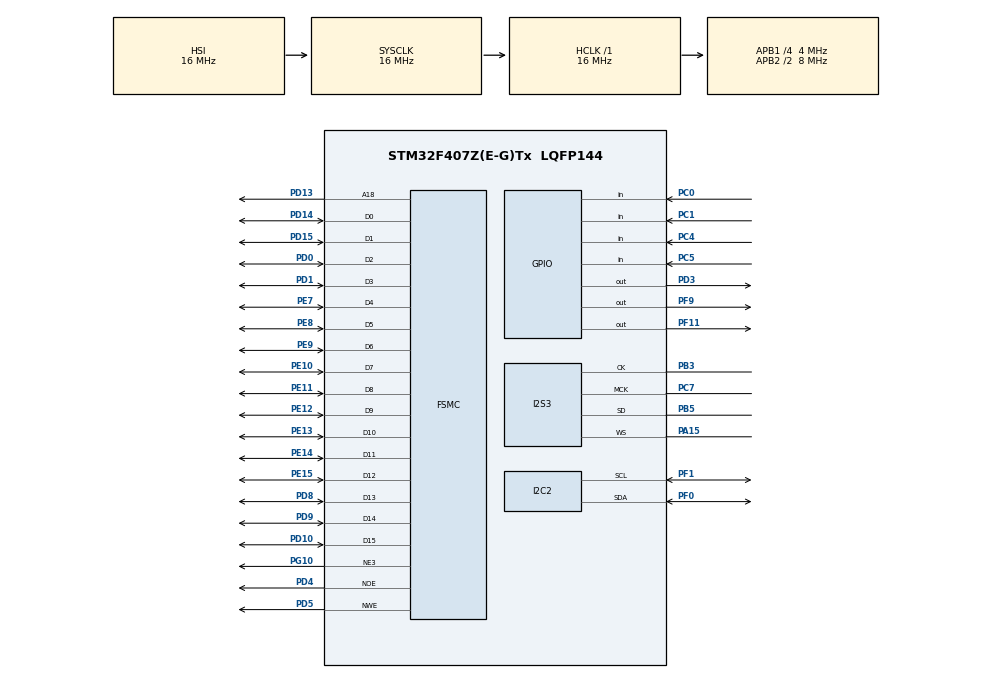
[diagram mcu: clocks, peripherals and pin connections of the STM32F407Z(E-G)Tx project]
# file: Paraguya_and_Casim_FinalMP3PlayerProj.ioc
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Dma.Request0=SPI3_TX
Dma.SPI3_TX.0.Direction=DMA_MEMORY_TO_PERIPH
Dma.SPI3_TX.0.FIFOMode=DMA_FIFOMODE_ENABLE
Dma.SPI3_TX.0.FIFOThreshold=DMA_FIFO_THRESHOLD_FULL
Dma.SPI3_TX.0.Instance=DMA1_Stream5
Dma.SPI3_TX.0.MemBurst=DMA_MBURST_INC4
Dma.SPI3_TX.0.MemDataAlignment=DMA_MDATAALIGN_HALFWORD
Dma.SPI3_TX.0.MemInc=DMA_MINC_ENABLE
Dma.SPI3_TX.0.Mode=DMA_CIRCULAR
Dma.SPI3_TX.0.PeriphBurst=DMA_PBURST_INC4
Dma.SPI3_TX.0.PeriphDataAlignment=DMA_PDATAALIGN_HALFWORD
Dma.SPI3_TX.0.PeriphInc=DMA_PINC_DISABLE
Dma.SPI3_TX.0.Priority=DMA_PRIORITY_HIGH
I2S3.AudioFreq=I2S_AUDIOFREQ_44K
I2S3.CPOL=I2S_CPOL_LOW
I2S3.DataFormat=I2S_DATAFORMAT_16B
I2S3.ErrorAudioFreq=0.02 %
I2S3.FullDuplexMode=I2S_FULLDUPLEXMODE_DISABLE
I2S3.Instance=SPI$Index
I2S3.Mode=I2S_MODE_MASTER_TX
I2S3.RealAudioFreq=44.01 KHz
I2S3.VirtualMode=I2S_MODE_MASTER
Mcu.Family=STM32F4
Mcu.Name=STM32F407Z(E-G)Tx
Mcu.Package=LQFP144
NVIC.DMA1_Stream5_IRQn=true\:0\:0\:false\:false\:true\:false\:true\:true
NVIC.PriorityGroup=NVIC_PRIORITYGROUP_4
PA15.Mode=Half_Duplex_Master
PA15.Signal=I2S3_WS
PB3.Mode=Half_Duplex_Master
PB3.Signal=I2S3_CK
PB5.Mode=Half_Duplex_Master
PB5.Signal=I2S3_SD
PC0.GPIO_PuPd=GPIO_PULLUP
PC0.Signal=GPIO_Input
PC1.GPIO_PuPd=GPIO_PULLUP
PC1.Signal=GPIO_Input
PC4.GPIO_PuPd=GPIO_PULLUP
PC4.Signal=GPIO_Input
PC5.GPIO_PuPd=GPIO_PULLUP
PC5.Signal=GPIO_Input
PC7.Mode=Master_Clock_Activated
PC7.Signal=I2S3_MCK
PD0.Signal=FSMC_D2_DA2
PD1.Signal=FSMC_D3_DA3
PD10.Signal=FSMC_D15_DA15
PD13.Signal=FSMC_A18
PD14.Signal=FSMC_D0_DA0
PD15.Signal=FSMC_D1_DA1
PD3.Signal=GPIO_Output
PD4.Signal=FSMC_NOE
PD5.Signal=FSMC_NWE
PD8.Signal=FSMC_D13_DA13
PD9.Signal=FSMC_D14_DA14
PE10.Signal=FSMC_D7_DA7
PE11.Signal=FSMC_D8_DA8
PE12.Signal=FSMC_D9_DA9
PE13.Signal=FSMC_D10_DA10
PE14.Signal=FSMC_D11_DA11
PE15.Signal=FSMC_D12_DA12
PE7.Signal=FSMC_D4_DA4
PE8.Signal=FSMC_D5_DA5
PE9.Signal=FSMC_D6_DA6
PF0.Mode=I2C
PF0.Signal=I2C2_SDA
PF1.Mode=I2C
PF1.Signal=I2C2_SCL
PF11.Signal=GPIO_Output
PF9.Signal=GPIO_Output
PG10.Mode=NorPsramChipSelect3_1
PG10.Signal=FSMC_NE3
ProjectManager.HeapSize=0x200
ProjectManager.StackSize=0x400
ProjectManager.TargetToolchain=STM32CubeIDE
RCC.48MHZClocksFreq_Value=76800000
RCC.AHBFreq_Value=16000000
RCC.APB1CLKDivider=RCC_HCLK_DIV4
RCC.APB1Freq_Value=4000000
RCC.APB1TimFreq_Value=8000000
RCC.APB2CLKDivider=RCC_HCLK_DIV2
RCC.APB2Freq_Value=8000000
RCC.APB2TimFreq_Value=16000000
RCC.CortexFreq_Value=16000000
RCC.HCLKFreq_Value=16000000
RCC.HSE_VALUE=25000000
RCC.HSI_VALUE=16000000
RCC.LSE_VALUE=32768
RCC.PLLI2SN=169
RCC.PLLM=10
RCC.SYSCLKFreq_VALUE=16000000
RCC.VCOOutputFreq_Value=307200000
SH.FSMC_A18.0=FSMC_A18,A18_1
SH.FSMC_D0_DA0.0=FSMC_D0,16b-d1
SH.FSMC_D10_DA10.0=FSMC_D10,16b-d1
SH.FSMC_D11_DA11.0=FSMC_D11,16b-d1
SH.FSMC_D12_DA12.0=FSMC_D12,16b-d1
SH.FSMC_D13_DA13.0=FSMC_D13,16b-d1
SH.FSMC_D14_DA14.0=FSMC_D14,16b-d1
SH.FSMC_D15_DA15.0=FSMC_D15,16b-d1
SH.FSMC_D1_DA1.0=FSMC_D1,16b-d1
SH.FSMC_D2_DA2.0=FSMC_D2,16b-d1
SH.FSMC_D3_DA3.0=FSMC_D3,16b-d1
SH.FSMC_D4_DA4.0=FSMC_D4,16b-d1
SH.FSMC_D5_DA5.0=FSMC_D5,16b-d1
SH.FSMC_D6_DA6.0=FSMC_D6,16b-d1
SH.FSMC_D7_DA7.0=FSMC_D7,16b-d1
SH.FSMC_D8_DA8.0=FSMC_D8,16b-d1
SH.FSMC_D9_DA9.0=FSMC_D9,16b-d1
SH.FSMC_NOE.0=FSMC_NOE,Lcd1
SH.FSMC_NWE.0=FSMC_NWE,Lcd1
board=custom

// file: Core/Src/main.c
/* USER CODE BEGIN Header */
/**
  ******************************************************************************
  * @file           : main.c
  * @brief          : DIY MP3 Player - BCA143 Final Exam
  ******************************************************************************
  */
/* USER CODE END Header */
#include "main.h"

/* USER CODE BEGIN Includes */
#include "drv_es8388.h"
#include <math.h>
#include "drv_lcd.h"
#include <string.h>
#include <stdio.h>
/* USER CODE END Includes */

/* USER CODE BEGIN PD */
#define AUDIO_BUFFER_SIZE  512

#define NOTE_C3  130.81f
#define NOTE_CS3 138.59f
#define NOTE_D3  146.83f
#define NOTE_DS3 155.56f
#define NOTE_E3  164.81f
#define NOTE_F3  174.61f
#define NOTE_FS3 185.00f
#define NOTE_G3  196.00f
#define NOTE_GS3 207.65f
#define NOTE_A3  220.00f
#define NOTE_AS3 233.08f
#define NOTE_B3  246.94f
#define NOTE_C4  261.63f
#define NOTE_CS4 277.18f
#define NOTE_D4  293.66f
#define NOTE_DS4 311.13f
#define NOTE_E4  329.63f
#define NOTE_F4  349.23f
#define NOTE_FS4 369.99f
#define NOTE_G4  392.00f
#define NOTE_GS4 415.30f
#define NOTE_A4  440.00f
#define NOTE_AS4 466.16f
#define NOTE_B4  493.88f
#define NOTE_C5  523.25f
#define NOTE_CS5 554.37f
#define NOTE_D5  587.33f
#define NOTE_DS5 622.25f
#define NOTE_E5  659.25f
#define NOTE_F5  698.46f
#define NOTE_FS5 739.99f
#define NOTE_G5  783.99f
#define NOTE_GS5 830.61f
#define NOTE_A5  880.00f
#define NOTE_AS5 932.33f
#define NOTE_B5  987.77f
#define REST     0.0f

typedef struct {
    float note;
    float duration;
} MusicalNote;

typedef struct {
    const char* name;
    const MusicalNote* notes;
    uint16_t length;
    uint16_t bpm;
} Song;
/* USER CODE END PD */

I2C_HandleTypeDef hi2c2;
I2S_HandleTypeDef hi2s3;
DMA_HandleTypeDef hdma_spi3_tx;
SRAM_HandleTypeDef hsram1;

/* USER CODE BEGIN PV */
uint16_t debug_audio_buffer[AUDIO_BUFFER_SIZE];

const MusicalNote bohemian_track[] = {
    {NOTE_B4,1.0f},{NOTE_A4,1.0f},{NOTE_G4,1.0f},{NOTE_A4,1.0f},
    {NOTE_B4,2.0f},{NOTE_B4,1.0f},{NOTE_A4,1.0f},
    {NOTE_G4,1.0f},{NOTE_A4,1.0f},{NOTE_B4,2.0f},
    {NOTE_E4,1.0f},{NOTE_G4,1.0f},{NOTE_A4,1.0f},{NOTE_B4,2.0f},
    {REST,2.0f}
};
const Song song_bohemian = {
    .name="Bohemian Rhapsody",
    .notes=bohemian_track,
    .length=sizeof(bohemian_track)/sizeof(bohemian_track[0]),
    .bpm=72
};

const MusicalNote tiger_track[] = {
    {NOTE_G3,0.5f},{NOTE_G3,0.5f},{NOTE_G3,0.5f},{NOTE_E3,0.75f},{NOTE_G3,0.25f},
    {NOTE_A3,2.0f},{REST,0.5f},
    {NOTE_G3,0.5f},{NOTE_G3,0.5f},{NOTE_E3,0.75f},{NOTE_G3,0.25f},
    {NOTE_AS3,2.0f},{REST,0.5f},
    {NOTE_G3,0.5f},{NOTE_G3,0.5f},{NOTE_E3,0.75f},{NOTE_G3,0.25f},
    {NOTE_A3,1.0f},{NOTE_G3,1.0f},{NOTE_E3,2.0f},{REST,1.0f}
};
const Song song_tiger = {
    .name="Eye Of The Tiger",
    .notes=tiger_track,
    .length=sizeof(tiger_track)/sizeof(tiger_track[0]),
    .bpm=108
};

const MusicalNote interstellar_track[] = {
    {NOTE_E4,0.5f},{NOTE_A4,0.5f},{NOTE_B4,1.0f},
    {NOTE_E4,0.5f},{NOTE_A4,0.5f},{NOTE_C5,1.0f},
    {NOTE_E4,0.5f},{NOTE_A4,0.5f},{NOTE_D5,1.0f},
    {NOTE_E4,0.5f},{NOTE_A4,0.5f},{NOTE_B4,2.0f},
    {NOTE_E4,0.5f},{NOTE_A4,0.5f},{NOTE_E5,1.0f},
    {NOTE_D5,2.0f},{NOTE_C5,1.0f},{NOTE_B4,1.0f},
    {NOTE_A4,2.0f},{REST,1.0f}
};
const Song song_interstellar = {
    .name="Interstellar",
    .notes=interstellar_track,
    .length=sizeof(interstellar_track)/sizeof(interstellar_track[0]),
    .bpm=96
};

const MusicalNote sweden_track[] = {
    {NOTE_D4,2.0f},{NOTE_E4,2.0f},{NOTE_G4,4.0f},
    {NOTE_D4,2.0f},{NOTE_E4,2.0f},{NOTE_G4,2.0f},{NOTE_A4,2.0f},
    {NOTE_B4,2.0f},{NOTE_A4,2.0f},{NOTE_G4,4.0f},
    {NOTE_D4,2.0f},{NOTE_E4,2.0f},{NOTE_G4,4.0f},{REST,4.0f}
};
const Song song_sweden = {
    .name="Minecraft Sweden",
    .notes=sweden_track,
    .length=sizeof(sweden_track)/sizeof(sweden_track[0]),
    .bpm=75
};

const MusicalNote nokia_track[] = {
    {NOTE_E5,0.5f},{NOTE_D5,0.5f},{NOTE_FS4,1.0f},{NOTE_GS4,1.0f},
    {NOTE_CS5,0.5f},{NOTE_B4,0.5f},{NOTE_D4,1.0f},{NOTE_E4,1.0f},
    {NOTE_B4,0.5f},{NOTE_A4,0.5f},{NOTE_CS4,1.0f},{NOTE_E4,1.0f},
    {NOTE_A4,2.0f},{REST,2.0f}
};
const Song song_nokia = {
    .name="Nokia Ringtone",
    .notes=nokia_track,
    .length=sizeof(nokia_track)/sizeof(nokia_track[0]),
    .bpm=180
};

const MusicalNote fur_elise_track[] = {
    {NOTE_E5,0.5f},{NOTE_DS5,0.5f},{NOTE_E5,0.5f},{NOTE_DS5,0.5f},
    {NOTE_E5,0.5f},{NOTE_B4,0.5f},{NOTE_D5,0.5f},{NOTE_C5,0.5f},
    {NOTE_A4,2.0f},{REST,0.5f},
    {NOTE_C4,0.5f},{NOTE_E4,0.5f},{NOTE_A4,0.5f},
    {NOTE_B4,2.0f},{REST,0.5f},
    {NOTE_E4,0.5f},{NOTE_GS4,0.5f},{NOTE_B4,0.5f},
    {NOTE_C5,2.0f},{REST,1.0f}
};
const Song song_fur_elise = {
    .name="Fur Elise",
    .notes=fur_elise_track,
    .length=sizeof(fur_elise_track)/sizeof(fur_elise_track[0]),
    .bpm=120
};

const MusicalNote happy_bday_track[] = {
    {NOTE_C4,0.75f},{NOTE_C4,0.25f},{NOTE_D4,1.0f},{NOTE_C4,1.0f},
    {NOTE_F4,1.0f},{NOTE_E4,2.0f},{REST,0.5f},
    {NOTE_C4,0.75f},{NOTE_C4,0.25f},{NOTE_D4,1.0f},{NOTE_C4,1.0f},
    {NOTE_G4,1.0f},{NOTE_F4,2.0f},{REST,0.5f},
    {NOTE_C4,0.75f},{NOTE_C4,0.25f},{NOTE_C5,1.0f},{NOTE_A4,1.0f},
    {NOTE_F4,1.0f},{NOTE_E4,1.0f},{NOTE_D4,2.0f},{REST,0.5f},
    {NOTE_AS4,0.75f},{NOTE_AS4,0.25f},{NOTE_A4,1.0f},{NOTE_F4,1.0f},
    {NOTE_G4,1.0f},{NOTE_F4,2.0f}
};
const Song song_happy_bday = {
    .name="Happy Birthday",
    .notes=happy_bday_track,
    .length=sizeof(happy_bday_track)/sizeof(happy_bday_track[0]),
    .bpm=100
};

const MusicalNote ode_to_joy_track[] = {
    {NOTE_E4,1.0f},{NOTE_E4,1.0f},{NOTE_F4,1.0f},{NOTE_G4,1.0f},
    {NOTE_G4,1.0f},{NOTE_F4,1.0f},{NOTE_E4,1.0f},{NOTE_D4,1.0f},
    {NOTE_C4,1.0f},{NOTE_C4,1.0f},{NOTE_D4,1.0f},{NOTE_E4,1.0f},
    {NOTE_E4,1.5f},{NOTE_D4,0.5f},{NOTE_D4,2.0f},{REST,1.0f}
};
const Song song_ode_to_joy = {
    .name="Ode To Joy",
    .notes=ode_to_joy_track,
    .length=sizeof(ode_to_joy_track)/sizeof(ode_to_joy_track[0]),
    .bpm=120
};

const Song* const playlist[] = {
    &song_bohemian,  &song_tiger,      &song_interstellar,
    &song_sweden,    &song_nokia,      &song_fur_elise,
    &song_happy_bday,&song_ode_to_joy
};
#define PLAYLIST_SIZE (sizeof(playlist)/sizeof(playlist[0]))

const Song* volatile current_song    = &song_bohemian;
volatile int8_t      current_song_idx = 0;
volatile uint8_t     is_paused       = 0;
uint32_t             current_note_idx = 0;
uint32_t             samples_elapsed  = 0;
volatile float       current_freq    = 0.0f;
float                current_phase   = 0.0f;
volatile uint8_t     updateLCD       = 0;
volatile uint8_t     volume_level    = 100;
volatile uint8_t     vol_mode_active = 0;
volatile uint8_t     system_ready    = 0;
/* USER CODE END PV */

void SystemClock_Config(void);
static void MX_GPIO_Init(void);
static void MX_DMA_Init(void);
static void MX_I2C2_Init(void);
static void MX_I2S3_Init(void);
static void MX_FSMC_Init(void);

/* USER CODE BEGIN 0 */

/* Forward declarations */
void Switch_Song(const Song* new_song);
void Update_LCD_Display(void);
void Update_Volume_Only(void);

void Switch_Song(const Song* new_song)
{
    __disable_irq();
    current_song      = new_song;
    current_note_idx  = 0;
    samples_elapsed   = 0;
    current_freq      = new_song->notes[0].note;
    __enable_irq();
}

void Fill_Audio_Buffer(uint16_t offset, uint16_t length)
{
    float    samples_per_beat = (44100.0f * 60.0f) / (float)current_song->bpm;
    uint32_t gap_samples      = 1323;
    float    phase_inc        = (2.0f * 3.1415926535f * current_freq) / 44100.0f;

    for (uint16_t i = 0; i < length; i += 2)
    {
        if (is_paused) {
            debug_audio_buffer[offset + i]     = 0;
            debug_audio_buffer[offset + i + 1] = 0;
            continue;
        }
        samples_elapsed++;
        MusicalNote active_note     = current_song->notes[current_note_idx];
        uint32_t    target_duration = (uint32_t)(active_note.duration * samples_per_beat);

        if (samples_elapsed >= (target_duration - gap_samples)) {
            current_freq = REST;
            phase_inc    = 0.0f;
        }
        if (samples_elapsed >= target_duration) {
            samples_elapsed = 0;
            current_note_idx++;
            if (current_note_idx >= current_song->length) current_note_idx = 0;
            current_freq = current_song->notes[current_note_idx].note;
            phase_inc    = (2.0f * 3.1415926535f * current_freq) / 44100.0f;
        }

        int16_t sample = 0;
        if (current_freq > 0.0f) {
            sample = (current_phase < 3.1415926535f) ? 4096 : -4096;
            current_phase += phase_inc;
            if (current_phase >= 2.0f * 3.1415926535f)
                current_phase -= 2.0f * 3.1415926535f;
        } else {
            current_phase = 0.0f;
        }
        debug_audio_buffer[offset + i]     = (uint16_t)sample;
        debug_audio_buffer[offset + i + 1] = (uint16_t)sample;
    }
}

void HAL_I2S_TxHalfCpltCallback(I2S_HandleTypeDef *hi2s) {
    Fill_Audio_Buffer(0, AUDIO_BUFFER_SIZE / 2);
}
void HAL_I2S_TxCpltCallback(I2S_HandleTypeDef *hi2s) {
    Fill_Audio_Buffer(AUDIO_BUFFER_SIZE / 2, AUDIO_BUFFER_SIZE / 2);
}

/* Full screen redraw */
void Update_LCD_Display(void)
{ lcd_fill(0, 0, 240, 240, BLACK);

/* Header */
lcd_set_color(BLACK, CYAN);
lcd_show_string(0,  0, 16, "~~~~~~~~~~~~~~~~");
lcd_set_color(BLACK, WHITE);
lcd_show_string(28, 16, 16, "DIY MP3 PLAYER");
lcd_set_color(BLACK, CYAN);
lcd_show_string(0,  32, 16, "~~~~~~~~~~~~~~~~");

/* Status */
if (is_paused) {
    lcd_set_color(BLACK, RED);
    lcd_show_string(52, 50, 24, "PAUSED ");
} else {
    lcd_set_color(BLACK, GREEN);
    lcd_show_string(52, 50, 24, "PLAYING");
}
    /* Track number */
    char track_num[20];
    snprintf(track_num, 20, "Track  %d  of  %d",
             current_song_idx + 1, (int)PLAYLIST_SIZE);
    lcd_set_color(BLACK, WHITE);
    lcd_show_string(4, 82, 16, track_num);

    lcd_set_color(BLACK, GRAY);
    lcd_show_string(0, 98, 16, "- - - - - - - - ");

    /* Song name auto-split */
    char name_buf[32];
       strncpy(name_buf, current_song->name, 31);
       name_buf[31] = '\0';
       int len = strlen(name_buf);
       lcd_set_color(BLACK, YELLOW);
       if (len <= 13) {
           int x = (240 - len * 12) / 2;
           if (x < 0) x = 0;
           lcd_show_string(x, 108, 24, name_buf);
       } else {
           char line1[17] = {0};
           char line2[17] = {0};
           int split = 12;
           for (int i = 12; i >= 0; i--) {
               if (name_buf[i] == ' ') { split = i; break; }
           }
           strncpy(line1, name_buf, split);
           strncpy(line2, name_buf + split + 1, 16);
           int x1 = (240 - (int)strlen(line1) * 12) / 2;
           int x2 = (240 - (int)strlen(line2) * 12) / 2;
           if (x1 < 0) x1 = 0;
           if (x2 < 0) x2 = 0;
           lcd_show_string(x1, 105, 24, line1);
           lcd_show_string(x2, 129, 24, line2);
       }

    /* Footer */
       lcd_set_color(BLACK, CYAN);
          lcd_show_string(4, 158, 16, "UP=Play/Pause");
          lcd_show_string(4, 174, 16, "L/R=Prev/Next Trk");
          lcd_show_string(4, 190, 16, "DN+L/R=Volume");

       /* Separator before volume */
       lcd_fill(0, 224, 240, 226, GRAY);

       /* Volume line */
       char vol_buf[20] = {0};
          snprintf(vol_buf, sizeof(vol_buf), "Vol: %3d%%", volume_level);
          lcd_set_color(BLACK, WHITE);
          lcd_show_string(4, 210, 16, vol_buf);
}

/* Only redraw the volume line — no full screen clear */
void Update_Volume_Only(void)
{
	 lcd_fill(0, 207, 240, 240, BLACK);
	    char vol_buf[20] = {0};
	    snprintf(vol_buf, sizeof(vol_buf), "Vol: %3d%%", volume_level);
	    lcd_set_color(BLACK, WHITE);
	    lcd_show_string(4, 210, 16, vol_buf);
}

/* USER CODE END 0 */

int main(void)
{

    HAL_Init();

    SystemClock_Config();

    MX_GPIO_Init();
    MX_DMA_Init();
    MX_I2C2_Init();
    MX_I2S3_Init();
    MX_FSMC_Init();

    /* USER CODE BEGIN 2 */
    drv_lcd_init();

    /* Splash screen */
    lcd_clear(BLACK);
    lcd_set_color(BLACK, CYAN);
    lcd_show_string(0,  70, 16, "~~~~~~~~~~~~~~~~");
    lcd_set_color(BLACK, WHITE);
    lcd_show_string(28, 88, 16, "DIY MP3 PLAYER");
    lcd_set_color(BLACK, CYAN);
    lcd_show_string(0, 104, 16, "~~~~~~~~~~~~~~~~");
    lcd_set_color(BLACK, YELLOW);
    lcd_show_string(48, 128, 16, "BCA143  Final");
    lcd_set_color(BLACK, WHITE);
    lcd_show_string(40, 150, 16, "Loading . . .");
    HAL_Delay(1500);

    es8388_init(&hi2c2);
    es8388_start(ES_MODE_DAC_ADC);
    es8388_volume_set(volume_level);

    hdma_spi3_tx.Init.Mode        = DMA_CIRCULAR;
    hdma_spi3_tx.Init.FIFOMode    = DMA_FIFOMODE_DISABLE;
    hdma_spi3_tx.Init.MemBurst    = DMA_MBURST_SINGLE;
    hdma_spi3_tx.Init.PeriphBurst = DMA_PBURST_SINGLE;
    if (HAL_DMA_Init(&hdma_spi3_tx) != HAL_OK) Error_Handler();

    current_note_idx = 0;
    samples_elapsed  = 0;
    current_freq     = current_song->notes[0].note;

    HAL_I2S_Transmit_DMA(&hi2s3, debug_audio_buffer, AUDIO_BUFFER_SIZE);
    vol_mode_active = 0;
    Update_LCD_Display();
    HAL_Delay(500);
    system_ready = 1;
    /* USER CODE END 2 */

    /* USER CODE BEGIN WHILE */
    static uint8_t up_prev    = 0;
    static uint8_t left_prev  = 0;
    static uint8_t right_prev = 0;
    static uint8_t down_prev  = 0;
    down_prev = !HAL_GPIO_ReadPin(GPIOC, GPIO_PIN_1); /* seed real state */

    while (1)
    {
    /* USER CODE END WHILE */
    /* USER CODE BEGIN 3 */
        uint8_t up    = !HAL_GPIO_ReadPin(GPIOC, GPIO_PIN_5);
        uint8_t left  = !HAL_GPIO_ReadPin(GPIOC, GPIO_PIN_0);
        uint8_t right = !HAL_GPIO_ReadPin(GPIOC, GPIO_PIN_4);
        uint8_t down  = !HAL_GPIO_ReadPin(GPIOC, GPIO_PIN_1);

        /* Track DOWN state change — no LCD redraw on mode change */
        if (system_ready && down != down_prev) {
            vol_mode_active = down;
        }
        down_prev = down;

        /* UP = Play/Pause */
        if (up && !up_prev) {
            is_paused = !is_paused;
            updateLCD = 1;
        }

        /* RIGHT */
        if (right && !right_prev) {
            if (down) {
                /* Volume up */
                if (volume_level <= 90) volume_level += 10;
                es8388_volume_set(volume_level);
                Update_Volume_Only();
            } else {
                /* Next track */
                current_song_idx++;
                if (current_song_idx >= (int)PLAYLIST_SIZE) current_song_idx = 0;
                Switch_Song(playlist[current_song_idx]);
                is_paused = 0;
                updateLCD = 1;
            }
        }

        /* LEFT */
        if (left && !left_prev) {
            if (down) {
                /* Volume down */
                if (volume_level >= 10) volume_level -= 10;
                es8388_volume_set(volume_level);
                Update_Volume_Only();
            } else {
                /* Prev track */
                current_song_idx--;
                if (current_song_idx < 0) current_song_idx = PLAYLIST_SIZE - 1;
                Switch_Song(playlist[current_song_idx]);
                is_paused = 0;
                updateLCD = 1;
            }
        }

        up_prev    = up;
        left_prev  = left;
        right_prev = right;
        down_prev  = down;

        if (updateLCD) {
            Update_LCD_Display();
            updateLCD = 0;
        }

        HAL_Delay(50);
    /* USER CODE END 3 */
    }
}

void SystemClock_Config(void)
{
    RCC_OscInitTypeDef RCC_OscInitStruct = {0};
    RCC_ClkInitTypeDef RCC_ClkInitStruct = {0};
    __HAL_RCC_PLL_PLLM_CONFIG(10);
    __HAL_RCC_PLL_PLLSOURCE_CONFIG(RCC_PLLSOURCE_HSI);
    __HAL_RCC_PWR_CLK_ENABLE();
    __HAL_PWR_VOLTAGESCALING_CONFIG(PWR_REGULATOR_VOLTAGE_SCALE1);
    RCC_OscInitStruct.OscillatorType      = RCC_OSCILLATORTYPE_HSI;
    RCC_OscInitStruct.HSIState            = RCC_HSI_ON;
    RCC_OscInitStruct.HSICalibrationValue = RCC_HSICALIBRATION_DEFAULT;
    RCC_OscInitStruct.PLL.PLLState        = RCC_PLL_NONE;
    RCC_OscInitStruct.PLL.PLLSource       = RCC_PLLSOURCE_HSI;
    if (HAL_RCC_OscConfig(&RCC_OscInitStruct) != HAL_OK) Error_Handler();
    RCC_ClkInitStruct.ClockType      = RCC_CLOCKTYPE_HCLK|RCC_CLOCKTYPE_SYSCLK
                                      |RCC_CLOCKTYPE_PCLK1|RCC_CLOCKTYPE_PCLK2;
    RCC_ClkInitStruct.SYSCLKSource   = RCC_SYSCLKSOURCE_HSI;
    RCC_ClkInitStruct.AHBCLKDivider  = RCC_SYSCLK_DIV1;
    RCC_ClkInitStruct.APB1CLKDivider = RCC_HCLK_DIV4;
    RCC_ClkInitStruct.APB2CLKDivider = RCC_HCLK_DIV2;
    if (HAL_RCC_ClockConfig(&RCC_ClkInitStruct, FLASH_LATENCY_0) != HAL_OK) Error_Handler();
}

static void MX_I2C2_Init(void)
{
    hi2c2.Instance              = I2C2;
    hi2c2.Init.ClockSpeed       = 100000;
    hi2c2.Init.DutyCycle        = I2C_DUTYCYCLE_2;
    hi2c2.Init.OwnAddress1      = 0;
    hi2c2.Init.AddressingMode   = I2C_ADDRESSINGMODE_7BIT;
    hi2c2.Init.DualAddressMode  = I2C_DUALADDRESS_DISABLE;
    hi2c2.Init.OwnAddress2      = 0;
    hi2c2.Init.GeneralCallMode  = I2C_GENERALCALL_DISABLE;
    hi2c2.Init.NoStretchMode    = I2C_NOSTRETCH_DISABLE;
    if (HAL_I2C_Init(&hi2c2) != HAL_OK) Error_Handler();
}

static void MX_I2S3_Init(void)
{
    hi2s3.Instance            = SPI3;
    hi2s3.Init.Mode           = I2S_MODE_MASTER_TX;
    hi2s3.Init.Standard       = I2S_STANDARD_PHILIPS;
    hi2s3.Init.DataFormat     = I2S_DATAFORMAT_16B;
    hi2s3.Init.MCLKOutput     = I2S_MCLKOUTPUT_ENABLE;
    hi2s3.Init.AudioFreq      = I2S_AUDIOFREQ_44K;
    hi2s3.Init.CPOL           = I2S_CPOL_LOW;
    hi2s3.Init.ClockSource    = I2S_CLOCK_PLL;
    hi2s3.Init.FullDuplexMode = I2S_FULLDUPLEXMODE_DISABLE;
    if (HAL_I2S_Init(&hi2s3) != HAL_OK) Error_Handler();
}

static void MX_DMA_Init(void)
{
    __HAL_RCC_DMA1_CLK_ENABLE();
    HAL_NVIC_SetPriority(DMA1_Stream5_IRQn, 0, 0);
    HAL_NVIC_EnableIRQ(DMA1_Stream5_IRQn);
}

static void MX_GPIO_Init(void)
{
    GPIO_InitTypeDef GPIO_InitStruct = {0};

    __HAL_RCC_GPIOF_CLK_ENABLE();
    __HAL_RCC_GPIOC_CLK_ENABLE();
    __HAL_RCC_GPIOE_CLK_ENABLE();
    __HAL_RCC_GPIOD_CLK_ENABLE();
    __HAL_RCC_GPIOA_CLK_ENABLE();
    __HAL_RCC_GPIOG_CLK_ENABLE();
    __HAL_RCC_GPIOB_CLK_ENABLE();

    HAL_GPIO_WritePin(GPIOF, GPIO_PIN_9|GPIO_PIN_11, GPIO_PIN_RESET);
    HAL_GPIO_WritePin(GPIOD, GPIO_PIN_3, GPIO_PIN_RESET);

    GPIO_InitStruct.Pin   = GPIO_PIN_9|GPIO_PIN_11;
    GPIO_InitStruct.Mode  = GPIO_MODE_OUTPUT_PP;
    GPIO_InitStruct.Pull  = GPIO_NOPULL;
    GPIO_InitStruct.Speed = GPIO_SPEED_FREQ_LOW;
    HAL_GPIO_Init(GPIOF, &GPIO_InitStruct);

    GPIO_InitStruct.Pin   = GPIO_PIN_0|GPIO_PIN_1|GPIO_PIN_4|GPIO_PIN_5;
    GPIO_InitStruct.Mode  = GPIO_MODE_INPUT;
    GPIO_InitStruct.Pull  = GPIO_PULLUP;
    HAL_GPIO_Init(GPIOC, &GPIO_InitStruct);

    GPIO_InitStruct.Pin   = GPIO_PIN_3;
    GPIO_InitStruct.Mode  = GPIO_MODE_OUTPUT_PP;
    GPIO_InitStruct.Pull  = GPIO_NOPULL;
    GPIO_InitStruct.Speed = GPIO_SPEED_FREQ_LOW;
    HAL_GPIO_Init(GPIOD, &GPIO_InitStruct);
}

static void MX_FSMC_Init(void)
{
    FSMC_NORSRAM_TimingTypeDef Timing = {0};
    hsram1.Instance                   = FSMC_NORSRAM_DEVICE;
    hsram1.Extended                   = FSMC_NORSRAM_EXTENDED_DEVICE;
    hsram1.Init.NSBank                = FSMC_NORSRAM_BANK3;
    hsram1.Init.DataAddressMux        = FSMC_DATA_ADDRESS_MUX_DISABLE;
    hsram1.Init.MemoryType            = FSMC_MEMORY_TYPE_SRAM;
    hsram1.Init.MemoryDataWidth       = FSMC_NORSRAM_MEM_BUS_WIDTH_16;
    hsram1.Init.BurstAccessMode       = FSMC_BURST_ACCESS_MODE_DISABLE;
    hsram1.Init.WaitSignalPolarity    = FSMC_WAIT_SIGNAL_POLARITY_LOW;
    hsram1.Init.WrapMode              = FSMC_WRAP_MODE_DISABLE;
    hsram1.Init.WaitSignalActive      = FSMC_WAIT_TIMING_BEFORE_WS;
    hsram1.Init.WriteOperation        = FSMC_WRITE_OPERATION_ENABLE;
    hsram1.Init.WaitSignal            = FSMC_WAIT_SIGNAL_DISABLE;
    hsram1.Init.ExtendedMode          = FSMC_EXTENDED_MODE_DISABLE;
    hsram1.Init.AsynchronousWait      = FSMC_ASYNCHRONOUS_WAIT_DISABLE;
    hsram1.Init.WriteBurst            = FSMC_WRITE_BURST_DISABLE;
    hsram1.Init.PageSize              = FSMC_PAGE_SIZE_NONE;
    Timing.AddressSetupTime           = 15;
    Timing.AddressHoldTime            = 15;
    Timing.DataSetupTime              = 255;
    Timing.BusTurnAroundDuration      = 15;
    Timing.CLKDivision                = 16;
    Timing.DataLatency                = 17;
    Timing.AccessMode                 = FSMC_ACCESS_MODE_A;
    if (HAL_SRAM_Init(&hsram1, &Timing, NULL) != HAL_OK) Error_Handler();
}

void Error_Handler(void)
{
    __disable_irq();
    while (1) {}
}
